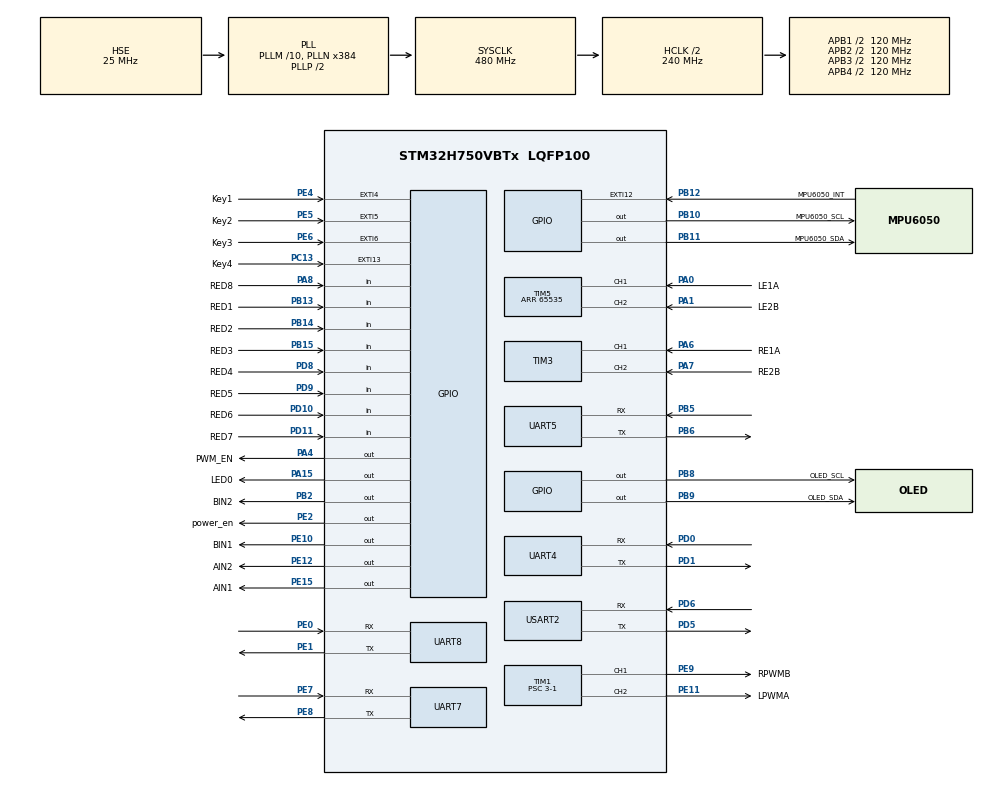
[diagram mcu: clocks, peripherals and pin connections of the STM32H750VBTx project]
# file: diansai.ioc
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Dma.Request0=UART8_TX
Dma.Request1=UART8_RX
Dma.Request2=UART7_RX
Dma.Request3=UART7_TX
Dma.Request4=UART5_RX
Dma.Request5=UART5_TX
Dma.Request6=USART2_RX
Dma.Request7=USART2_TX
Dma.Request8=UART4_RX
Dma.Request9=UART4_TX
Dma.UART4_RX.8.Direction=DMA_PERIPH_TO_MEMORY
Dma.UART4_RX.8.EventEnable=DISABLE
Dma.UART4_RX.8.FIFOMode=DMA_FIFOMODE_DISABLE
Dma.UART4_RX.8.Instance=DMA2_Stream0
Dma.UART4_RX.8.MemDataAlignment=DMA_MDATAALIGN_BYTE
Dma.UART4_RX.8.MemInc=DMA_MINC_ENABLE
Dma.UART4_RX.8.Mode=DMA_NORMAL
Dma.UART4_RX.8.PeriphDataAlignment=DMA_PDATAALIGN_BYTE
Dma.UART4_RX.8.PeriphInc=DMA_PINC_DISABLE
Dma.UART4_RX.8.Polarity=HAL_DMAMUX_REQ_GEN_RISING
Dma.UART4_RX.8.Priority=DMA_PRIORITY_LOW
Dma.UART4_RX.8.RequestNumber=1
Dma.UART4_RX.8.SignalID=NONE
Dma.UART4_RX.8.SyncEnable=DISABLE
Dma.UART4_RX.8.SyncPolarity=HAL_DMAMUX_SYNC_NO_EVENT
Dma.UART4_RX.8.SyncRequestNumber=1
Dma.UART4_RX.8.SyncSignalID=NONE
Dma.UART4_TX.9.Direction=DMA_MEMORY_TO_PERIPH
Dma.UART4_TX.9.EventEnable=DISABLE
Dma.UART4_TX.9.FIFOMode=DMA_FIFOMODE_DISABLE
Dma.UART4_TX.9.Instance=DMA2_Stream1
Dma.UART4_TX.9.MemDataAlignment=DMA_MDATAALIGN_BYTE
Dma.UART4_TX.9.MemInc=DMA_MINC_ENABLE
Dma.UART4_TX.9.Mode=DMA_NORMAL
Dma.UART4_TX.9.PeriphDataAlignment=DMA_PDATAALIGN_BYTE
Dma.UART4_TX.9.PeriphInc=DMA_PINC_DISABLE
Dma.UART4_TX.9.Polarity=HAL_DMAMUX_REQ_GEN_RISING
Dma.UART4_TX.9.Priority=DMA_PRIORITY_LOW
Dma.UART4_TX.9.RequestNumber=1
Dma.UART4_TX.9.SignalID=NONE
Dma.UART4_TX.9.SyncEnable=DISABLE
Dma.UART4_TX.9.SyncPolarity=HAL_DMAMUX_SYNC_NO_EVENT
Dma.UART4_TX.9.SyncRequestNumber=1
Dma.UART4_TX.9.SyncSignalID=NONE
Dma.UART5_RX.4.Direction=DMA_PERIPH_TO_MEMORY
Dma.UART5_RX.4.EventEnable=DISABLE
Dma.UART5_RX.4.FIFOMode=DMA_FIFOMODE_DISABLE
Dma.UART5_RX.4.Instance=DMA1_Stream4
Dma.UART5_RX.4.MemDataAlignment=DMA_MDATAALIGN_BYTE
Dma.UART5_RX.4.MemInc=DMA_MINC_ENABLE
Dma.UART5_RX.4.Mode=DMA_CIRCULAR
Dma.UART5_RX.4.PeriphDataAlignment=DMA_PDATAALIGN_BYTE
Dma.UART5_RX.4.PeriphInc=DMA_PINC_DISABLE
Dma.UART5_RX.4.Polarity=HAL_DMAMUX_REQ_GEN_RISING
Dma.UART5_RX.4.Priority=DMA_PRIORITY_LOW
Dma.UART5_RX.4.RequestNumber=1
Dma.UART5_RX.4.SignalID=NONE
Dma.UART5_RX.4.SyncEnable=DISABLE
Dma.UART5_RX.4.SyncPolarity=HAL_DMAMUX_SYNC_NO_EVENT
Dma.UART5_RX.4.SyncRequestNumber=1
Dma.UART5_RX.4.SyncSignalID=NONE
Dma.UART5_TX.5.Direction=DMA_MEMORY_TO_PERIPH
Dma.UART5_TX.5.EventEnable=DISABLE
Dma.UART5_TX.5.FIFOMode=DMA_FIFOMODE_DISABLE
Dma.UART5_TX.5.Instance=DMA1_Stream5
Dma.UART5_TX.5.MemDataAlignment=DMA_MDATAALIGN_BYTE
Dma.UART5_TX.5.MemInc=DMA_MINC_ENABLE
Dma.UART5_TX.5.Mode=DMA_NORMAL
Dma.UART5_TX.5.PeriphDataAlignment=DMA_PDATAALIGN_BYTE
Dma.UART5_TX.5.PeriphInc=DMA_PINC_DISABLE
Dma.UART5_TX.5.Polarity=HAL_DMAMUX_REQ_GEN_RISING
Dma.UART5_TX.5.Priority=DMA_PRIORITY_LOW
Dma.UART5_TX.5.RequestNumber=1
Dma.UART5_TX.5.SignalID=NONE
Dma.UART5_TX.5.SyncEnable=DISABLE
Dma.UART5_TX.5.SyncPolarity=HAL_DMAMUX_SYNC_NO_EVENT
Dma.UART5_TX.5.SyncRequestNumber=1
Dma.UART5_TX.5.SyncSignalID=NONE
Dma.UART7_RX.2.Direction=DMA_PERIPH_TO_MEMORY
Dma.UART7_RX.2.EventEnable=DISABLE
Dma.UART7_RX.2.FIFOMode=DMA_FIFOMODE_DISABLE
Dma.UART7_RX.2.Instance=DMA1_Stream2
Dma.UART7_RX.2.MemDataAlignment=DMA_MDATAALIGN_BYTE
Dma.UART7_RX.2.MemInc=DMA_MINC_ENABLE
Dma.UART7_RX.2.Mode=DMA_NORMAL
Dma.UART7_RX.2.PeriphDataAlignment=DMA_PDATAALIGN_BYTE
Dma.UART7_RX.2.PeriphInc=DMA_PINC_DISABLE
Dma.UART7_RX.2.Polarity=HAL_DMAMUX_REQ_GEN_RISING
Dma.UART7_RX.2.Priority=DMA_PRIORITY_LOW
Dma.UART7_RX.2.RequestNumber=1
Dma.UART7_RX.2.SignalID=NONE
Dma.UART7_RX.2.SyncEnable=DISABLE
Dma.UART7_RX.2.SyncPolarity=HAL_DMAMUX_SYNC_NO_EVENT
Dma.UART7_RX.2.SyncRequestNumber=1
Dma.UART7_RX.2.SyncSignalID=NONE
Dma.UART7_TX.3.Direction=DMA_MEMORY_TO_PERIPH
Dma.UART7_TX.3.EventEnable=DISABLE
Dma.UART7_TX.3.FIFOMode=DMA_FIFOMODE_DISABLE
Dma.UART7_TX.3.Instance=DMA1_Stream3
Dma.UART7_TX.3.MemDataAlignment=DMA_MDATAALIGN_BYTE
Dma.UART7_TX.3.MemInc=DMA_MINC_ENABLE
Dma.UART7_TX.3.Mode=DMA_NORMAL
Dma.UART7_TX.3.PeriphDataAlignment=DMA_PDATAALIGN_BYTE
Dma.UART7_TX.3.PeriphInc=DMA_PINC_DISABLE
Dma.UART7_TX.3.Polarity=HAL_DMAMUX_REQ_GEN_RISING
Dma.UART7_TX.3.Priority=DMA_PRIORITY_LOW
Dma.UART7_TX.3.RequestNumber=1
Dma.UART7_TX.3.SignalID=NONE
Dma.UART7_TX.3.SyncEnable=DISABLE
Dma.UART7_TX.3.SyncPolarity=HAL_DMAMUX_SYNC_NO_EVENT
Dma.UART7_TX.3.SyncRequestNumber=1
Dma.UART7_TX.3.SyncSignalID=NONE
Dma.UART8_RX.1.Direction=DMA_PERIPH_TO_MEMORY
Dma.UART8_RX.1.EventEnable=DISABLE
Dma.UART8_RX.1.FIFOMode=DMA_FIFOMODE_DISABLE
Dma.UART8_RX.1.Instance=DMA1_Stream1
Dma.UART8_RX.1.MemDataAlignment=DMA_MDATAALIGN_BYTE
Dma.UART8_RX.1.MemInc=DMA_MINC_ENABLE
Dma.UART8_RX.1.Mode=DMA_NORMAL
Dma.UART8_RX.1.PeriphDataAlignment=DMA_PDATAALIGN_BYTE
Dma.UART8_RX.1.PeriphInc=DMA_PINC_DISABLE
Dma.UART8_RX.1.Polarity=HAL_DMAMUX_REQ_GEN_RISING
Dma.UART8_RX.1.Priority=DMA_PRIORITY_LOW
Dma.UART8_RX.1.RequestNumber=1
Dma.UART8_RX.1.SignalID=NONE
Dma.UART8_RX.1.SyncEnable=DISABLE
Dma.UART8_RX.1.SyncPolarity=HAL_DMAMUX_SYNC_NO_EVENT
Dma.UART8_RX.1.SyncRequestNumber=1
Dma.UART8_RX.1.SyncSignalID=NONE
Dma.UART8_TX.0.Direction=DMA_MEMORY_TO_PERIPH
Dma.UART8_TX.0.EventEnable=DISABLE
Dma.UART8_TX.0.FIFOMode=DMA_FIFOMODE_DISABLE
Dma.UART8_TX.0.Instance=DMA1_Stream0
Dma.UART8_TX.0.MemDataAlignment=DMA_MDATAALIGN_BYTE
Dma.UART8_TX.0.MemInc=DMA_MINC_ENABLE
Dma.UART8_TX.0.Mode=DMA_NORMAL
Dma.UART8_TX.0.PeriphDataAlignment=DMA_PDATAALIGN_BYTE
Dma.UART8_TX.0.PeriphInc=DMA_PINC_DISABLE
Dma.UART8_TX.0.Polarity=HAL_DMAMUX_REQ_GEN_RISING
Dma.UART8_TX.0.Priority=DMA_PRIORITY_LOW
Dma.UART8_TX.0.RequestNumber=1
Dma.UART8_TX.0.SignalID=NONE
Dma.UART8_TX.0.SyncEnable=DISABLE
Dma.UART8_TX.0.SyncPolarity=HAL_DMAMUX_SYNC_NO_EVENT
Dma.UART8_TX.0.SyncRequestNumber=1
Dma.UART8_TX.0.SyncSignalID=NONE
Dma.USART2_RX.6.Direction=DMA_PERIPH_TO_MEMORY
Dma.USART2_RX.6.EventEnable=DISABLE
Dma.USART2_RX.6.FIFOMode=DMA_FIFOMODE_DISABLE
Dma.USART2_RX.6.Instance=DMA1_Stream6
Dma.USART2_RX.6.MemDataAlignment=DMA_MDATAALIGN_BYTE
Dma.USART2_RX.6.MemInc=DMA_MINC_ENABLE
Dma.USART2_RX.6.Mode=DMA_NORMAL
Dma.USART2_RX.6.PeriphDataAlignment=DMA_PDATAALIGN_BYTE
Dma.USART2_RX.6.PeriphInc=DMA_PINC_DISABLE
Dma.USART2_RX.6.Polarity=HAL_DMAMUX_REQ_GEN_RISING
Dma.USART2_RX.6.Priority=DMA_PRIORITY_LOW
Dma.USART2_RX.6.RequestNumber=1
Dma.USART2_RX.6.SignalID=NONE
Dma.USART2_RX.6.SyncEnable=DISABLE
Dma.USART2_RX.6.SyncPolarity=HAL_DMAMUX_SYNC_NO_EVENT
Dma.USART2_RX.6.SyncRequestNumber=1
Dma.USART2_RX.6.SyncSignalID=NONE
Dma.USART2_TX.7.Direction=DMA_MEMORY_TO_PERIPH
Dma.USART2_TX.7.EventEnable=DISABLE
Dma.USART2_TX.7.FIFOMode=DMA_FIFOMODE_DISABLE
Dma.USART2_TX.7.Instance=DMA1_Stream7
Dma.USART2_TX.7.MemDataAlignment=DMA_MDATAALIGN_BYTE
Dma.USART2_TX.7.MemInc=DMA_MINC_ENABLE
Dma.USART2_TX.7.Mode=DMA_NORMAL
Dma.USART2_TX.7.PeriphDataAlignment=DMA_PDATAALIGN_BYTE
Dma.USART2_TX.7.PeriphInc=DMA_PINC_DISABLE
Dma.USART2_TX.7.Polarity=HAL_DMAMUX_REQ_GEN_RISING
Dma.USART2_TX.7.Priority=DMA_PRIORITY_LOW
Dma.USART2_TX.7.RequestNumber=1
Dma.USART2_TX.7.SignalID=NONE
Dma.USART2_TX.7.SyncEnable=DISABLE
Dma.USART2_TX.7.SyncPolarity=HAL_DMAMUX_SYNC_NO_EVENT
Dma.USART2_TX.7.SyncRequestNumber=1
Dma.USART2_TX.7.SyncSignalID=NONE
Mcu.Family=STM32H7
Mcu.Name=STM32H750VBTx
Mcu.Package=LQFP100
NVIC.DMA1_Stream0_IRQn=true\:0\:0\:false\:false\:true\:false\:true
NVIC.DMA1_Stream1_IRQn=true\:0\:0\:false\:false\:true\:false\:true
NVIC.DMA1_Stream2_IRQn=true\:0\:0\:false\:false\:true\:false\:true
NVIC.DMA1_Stream3_IRQn=true\:0\:0\:false\:false\:true\:false\:true
NVIC.DMA1_Stream4_IRQn=true\:0\:0\:false\:false\:true\:false\:true
NVIC.DMA1_Stream5_IRQn=true\:0\:0\:false\:false\:true\:false\:true
NVIC.DMA1_Stream6_IRQn=true\:0\:0\:false\:false\:true\:false\:true
NVIC.DMA1_Stream7_IRQn=true\:0\:0\:false\:false\:true\:false\:true
NVIC.DMA2_Stream0_IRQn=true\:0\:0\:false\:false\:true\:false\:true
NVIC.DMA2_Stream1_IRQn=true\:0\:0\:false\:false\:true\:false\:true
NVIC.EXTI15_10_IRQn=true\:0\:0\:false\:false\:true\:true\:true
NVIC.EXTI4_IRQn=true\:0\:0\:false\:false\:true\:true\:true
NVIC.EXTI9_5_IRQn=true\:0\:0\:false\:false\:true\:true\:true
NVIC.PriorityGroup=NVIC_PRIORITYGROUP_4
NVIC.TIM6_DAC_IRQn=true\:0\:0\:false\:false\:true\:true\:true
NVIC.TIM7_IRQn=true\:0\:0\:false\:false\:true\:true\:true
NVIC.UART4_IRQn=true\:0\:0\:false\:false\:true\:true\:true
NVIC.UART5_IRQn=true\:0\:0\:false\:false\:true\:true\:true
NVIC.UART7_IRQn=true\:0\:0\:false\:false\:true\:true\:true
NVIC.UART8_IRQn=true\:0\:0\:false\:false\:true\:true\:true
NVIC.USART2_IRQn=true\:0\:0\:false\:false\:true\:true\:true
PA0.GPIO_Label=LE1A
PA0.Signal=S_TIM5_CH1
PA1.GPIO_Label=LE2B
PA1.Signal=S_TIM5_CH2
PA13\ (JTMS/SWDIO).Mode=Serial_Wire
PA13\ (JTMS/SWDIO).Signal=DEBUG_JTMS-SWDIO
PA14\ (JTCK/SWCLK).Mode=Serial_Wire
PA14\ (JTCK/SWCLK).Signal=DEBUG_JTCK-SWCLK
PA15\ (JTDI).GPIO_Label=LED0
PA15\ (JTDI).Signal=GPIO_Output
PA4.GPIO_Label=PWM_EN
PA4.Signal=GPIO_Output
PA6.GPIO_Label=RE1A
PA6.Signal=S_TIM3_CH1
PA7.GPIO_Label=RE2B
PA7.Signal=S_TIM3_CH2
PA8.GPIO_Label=RED8
PA8.Signal=GPIO_Input
PB10.GPIO_Label=MPU6050_SCL
PB10.GPIO_ModeDefaultOutputPP=GPIO_MODE_OUTPUT_OD
PB10.GPIO_PuPd=GPIO_NOPULL
PB10.GPIO_Speed=GPIO_SPEED_FREQ_HIGH
PB10.PinState=GPIO_PIN_SET
PB10.Signal=GPIO_Output
PB11.GPIO_Label=MPU6050_SDA
PB11.GPIO_ModeDefaultOutputPP=GPIO_MODE_OUTPUT_OD
PB11.GPIO_PuPd=GPIO_NOPULL
PB11.GPIO_Speed=GPIO_SPEED_FREQ_HIGH
PB11.PinState=GPIO_PIN_SET
PB11.Signal=GPIO_Output
PB12.GPIO_Label=MPU6050_INT
PB12.GPIO_ModeDefaultEXTI=GPIO_MODE_IT_FALLING
PB12.Signal=GPXTI12
PB13.GPIO_Label=RED1
PB13.Signal=GPIO_Input
PB14.GPIO_Label=RED2
PB14.Signal=GPIO_Input
PB15.GPIO_Label=RED3
PB15.Signal=GPIO_Input
PB2.GPIO_Label=BIN2
PB2.Signal=GPIO_Output
PB5.Mode=Asynchronous
PB5.Signal=UART5_RX
PB6.Mode=Asynchronous
PB6.Signal=UART5_TX
PB8.GPIO_Label=OLED_SCL
PB8.GPIO_ModeDefaultOutputPP=GPIO_MODE_OUTPUT_OD
PB8.GPIO_Speed=GPIO_SPEED_FREQ_HIGH
PB8.PinState=GPIO_PIN_SET
PB8.Signal=GPIO_Output
PB9.GPIO_Label=OLED_SDA
PB9.GPIO_ModeDefaultOutputPP=GPIO_MODE_OUTPUT_OD
PB9.GPIO_Speed=GPIO_SPEED_FREQ_HIGH
PB9.PinState=GPIO_PIN_SET
PB9.Signal=GPIO_Output
PC13.GPIO_Label=Key4
PC13.GPIO_ModeDefaultEXTI=GPIO_MODE_IT_FALLING
PC13.Signal=GPXTI13
PD0.Mode=Asynchronous
PD0.Signal=UART4_RX
PD1.Mode=Asynchronous
PD1.Signal=UART4_TX
PD10.GPIO_Label=RED6
PD10.Signal=GPIO_Input
PD11.GPIO_Label=RED7
PD11.Signal=GPIO_Input
PD5.Mode=Asynchronous
PD5.Signal=USART2_TX
PD6.Mode=Asynchronous
PD6.Signal=USART2_RX
PD8.GPIO_Label=RED4
PD8.Signal=GPIO_Input
PD9.GPIO_Label=RED5
PD9.Signal=GPIO_Input
PE0.Mode=Asynchronous
PE0.Signal=UART8_RX
PE1.Mode=Asynchronous
PE1.Signal=UART8_TX
PE10.GPIO_Label=BIN1
PE10.Signal=GPIO_Output
PE11.GPIO_Label=LPWMA
PE11.Signal=S_TIM1_CH2
PE12.GPIO_Label=AIN2
PE12.Signal=GPIO_Output
PE15.GPIO_Label=AIN1
PE15.Signal=GPIO_Output
PE2.GPIO_Label=power_en
PE2.Signal=GPIO_Output
PE4.GPIO_Label=Key1
PE4.GPIO_ModeDefaultEXTI=GPIO_MODE_IT_FALLING
PE4.Signal=GPXTI4
PE5.GPIO_Label=Key2
PE5.GPIO_ModeDefaultEXTI=GPIO_MODE_IT_FALLING
PE5.Signal=GPXTI5
PE6.GPIO_Label=Key3
PE6.GPIO_ModeDefaultEXTI=GPIO_MODE_IT_FALLING
PE6.Signal=GPXTI6
PE7.Mode=Asynchronous
PE7.Signal=UART7_RX
PE8.Mode=Asynchronous
PE8.Signal=UART7_TX
PE9.GPIO_Label=RPWMB
PE9.Signal=S_TIM1_CH1
PH0-OSC_IN\ (PH0).Mode=HSE-External-Oscillator
PH0-OSC_IN\ (PH0).Signal=RCC_OSC_IN
PH1-OSC_OUT\ (PH1).Mode=HSE-External-Oscillator
PH1-OSC_OUT\ (PH1).Signal=RCC_OSC_OUT
ProjectManager.HeapSize=0x200
ProjectManager.StackSize=0x400
ProjectManager.TargetToolchain=MDK-ARM V5.32
RCC.ADCFreq_Value=50390625
RCC.APB1Freq_Value=120000000
RCC.APB2Freq_Value=120000000
RCC.APB3Freq_Value=120000000
RCC.APB4Freq_Value=120000000
RCC.CortexFreq_Value=480000000
RCC.D1PPRE=RCC_APB3_DIV2
RCC.D2PPRE1=RCC_APB1_DIV2
RCC.D2PPRE2=RCC_APB2_DIV2
RCC.D3PPRE=RCC_APB4_DIV2
RCC.DIVM1=10
RCC.DIVN1=384
RCC.HCLKFreq_Value=240000000
RCC.HPRE=RCC_HCLK_DIV2
RCC.PLLSourceVirtual=RCC_PLLSOURCE_HSE
RCC.SYSCLKFreq_VALUE=480000000
RCC.SYSCLKSource=RCC_SYSCLKSOURCE_PLLCLK
RCC.USBFreq_Value=480000000
SH.S_TIM1_CH1.0=TIM1_CH1,PWM Generation1 CH1
SH.S_TIM1_CH2.0=TIM1_CH2,PWM Generation2 CH2
SH.S_TIM3_CH1.0=TIM3_CH1,Encoder_Interface
SH.S_TIM3_CH2.0=TIM3_CH2,Encoder_Interface
SH.S_TIM5_CH1.0=TIM5_CH1,Encoder_Interface
SH.S_TIM5_CH2.0=TIM5_CH2,Encoder_Interface
TIM1.Channel-PWM\ Generation1\ CH1=TIM_CHANNEL_1
TIM1.Channel-PWM\ Generation2\ CH2=TIM_CHANNEL_2
TIM1.Period=6400-1
TIM1.Prescaler=3-1
TIM3.EncoderMode=TIM_ENCODERMODE_TI12
TIM3.IC1Filter=15
TIM3.IC2Filter=15
TIM3.IC2Polarity=TIM_ICPOLARITY_RISING
TIM5.EncoderMode=TIM_ENCODERMODE_TI12
TIM5.IC1Filter=15
TIM5.IC2Filter=15
TIM5.IC2Polarity=TIM_ICPOLARITY_RISING
TIM5.Period=65535
TIM6.AutoReloadPreload=TIM_AUTORELOAD_PRELOAD_ENABLE
TIM6.Period=1000-1
TIM6.Prescaler=120-1
TIM7.Period=10000-1
TIM7.Prescaler=240-1
USART2.VirtualMode-Asynchronous=VM_ASYNC
VP_TIM1_VS_ClockSourceINT.Mode=Internal
VP_TIM6_VS_ClockSourceINT.Mode=Enable_Timer
VP_TIM7_VS_ClockSourceINT.Mode=Enable_Timer
board=custom

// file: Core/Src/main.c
/* USER CODE BEGIN Header */
/**
  ******************************************************************************
  * @file           : main.c
  * @brief          : Main program body
  ******************************************************************************
  * @attention
  *
  * <h2><center>&copy; Copyright (c) 2026 STMicroelectronics.
  * All rights reserved.</center></h2>
  *
  * This software component is licensed by ST under BSD 3-Clause license,
  * the "License"; You may not use this file except in compliance with the
  * License. You may obtain a copy of the License at:
  *                        opensource.org/licenses/BSD-3-Clause
  *
  ******************************************************************************
  */
/* USER CODE END Header */
#include "main.h"
#include "dma.h"
#include "tim.h"
#include "usart.h"
#include "gpio.h"

/* USER CODE BEGIN Includes */
#include "BSP_H.h"
#include "Module_H.h"
#include "pid.h"
#include "line_tracking.h"
#include "ball_control.h"
#include "Oled_show.h"
#include "forward.h"
#include "five.h"
/* USER CODE END Includes */

/* USER CODE BEGIN PM */
float R_rpm=0;
float L_rpm=0;
float Wish_angle = 0;
/* USER CODE END PM */

void SystemClock_Config(void);

int main(void)
{

  /* MCU Configuration--------------------------------------------------------*/

  /* Reset of all peripherals, Initializes the Flash interface and the Systick. */
  HAL_Init();

  /* Configure the system clock */
  SystemClock_Config();

  /* Initialize all configured peripherals */
  MX_GPIO_Init();
  MX_DMA_Init();
  MX_TIM1_Init();
  MX_TIM3_Init();
  MX_TIM5_Init();
  MX_TIM6_Init();
  MX_UART8_Init();
  MX_UART7_Init();
  MX_UART5_Init();
  MX_TIM7_Init();
  MX_USART2_UART_Init();
  MX_UART4_Init();
  /* USER CODE BEGIN 2 */
	bsp_timer_init();
	bsp_usart_init();
	bsp_set_gpio_high(power_en_GPIO_Port,power_en_Pin);
	bsp_set_gpio_high(PWM_EN_GPIO_Port,PWM_EN_Pin);
	HAL_NVIC_EnableIRQ(EXTI4_IRQn);
	HAL_NVIC_EnableIRQ(EXTI9_5_IRQn);
	HAL_NVIC_EnableIRQ(EXTI15_10_IRQn);

  /* USER CODE END 2 */

  /* Infinite loop */
  /* USER CODE BEGIN WHILE */
  cnt_flag_t*p_time_flag=get_g_time_flag_addr();
  PidController_t*pid_forward=pid_get_speed_controller();
  pid_init(pid_forward,85,1.1,0,1500);// pid_init(pid_forward,35,0.95,0.5,4500);5mspid����
	ball_control_init();
	uint8_t*u8_array=get_s_rx_buf_u8();
	OLED_Init();
	OLED_Clear();
	oled_show();

	HAL_Delay(800);
	back_to_zero();
	HAL_Delay(3000);

  while (1)
  {
    /* USER CODE END WHILE */

    /* USER CODE BEGIN 3 */
		if(p_time_flag->t_0_5_ms_flag){
			p_time_flag->t_0_5_ms_flag=0;

		}
	 if(p_time_flag->t_5_ms_flag)
	 {
			p_time_flag->t_5_ms_flag=0;
		  if(*task_num_addr()==2)		//����2
			{
				static uint8_t count=0;
				if(count==0)
				{
				  HAL_Delay(1000);
					count=1;
				}
				tracking_line();
			}
			else if(*task_num_addr()==4)
			{
				static uint8_t count2=0;
				if(count2==0)
				{
				  HAL_Delay(1000);
					count2=1;
				}
			  A_to_B_tracking_line();
			}
//			else if(*task_num_addr()==5)
//			{
//			  static uint8_t count3=0;
//				if(count3==0)
//				{
//				  HAL_Delay(1000);
//					count3=1;
//				}
//			  A_tracking_line();
//			}

			}

	 if(p_time_flag->t_16_ms_flag){
		 p_time_flag->t_16_ms_flag=0;

	 }
	 if(p_time_flag->t_30_ms_flag){
		 p_time_flag->t_30_ms_flag=0;
	      if(*task_num_addr()==3)	 //����3
		 		{
					static uint8_t count=0;
					if(count==0)
					{
						ball_first_step();
						count=1;
					}
					open_control();
				}
	 }
	 if(p_time_flag->t_500_ms_flag){
		 p_time_flag->t_500_ms_flag = 0;
		 oled_show();
//		 uint8_t*read_Line=get_g_Line_state_addr();

//		bsp_usart8_printf("%d,%d,%d,%d,%d,%d,%d,%d\n",read_Line[track_left1],read_Line[track_left2],read_Line[track_left3],read_Line[track_left4],\
//		 read_Line[track_right4],read_Line[track_right3],read_Line[track_right2],read_Line[track_right1]);

//		 bsp_usart8_printf("%f\n",get_yaw_speed());
	 }

  }
  /* USER CODE END 3 */
}

void SystemClock_Config(void)
{
  RCC_OscInitTypeDef RCC_OscInitStruct = {0};
  RCC_ClkInitTypeDef RCC_ClkInitStruct = {0};

  /** Supply configuration update enable
  */
  HAL_PWREx_ConfigSupply(PWR_LDO_SUPPLY);
  /** Configure the main internal regulator output voltage
  */
  __HAL_PWR_VOLTAGESCALING_CONFIG(PWR_REGULATOR_VOLTAGE_SCALE0);

  while(!__HAL_PWR_GET_FLAG(PWR_FLAG_VOSRDY)) {}
  /** Initializes the RCC Oscillators according to the specified parameters
  * in the RCC_OscInitTypeDef structure.
  */
  RCC_OscInitStruct.OscillatorType = RCC_OSCILLATORTYPE_HSE;
  RCC_OscInitStruct.HSEState = RCC_HSE_ON;
  RCC_OscInitStruct.PLL.PLLState = RCC_PLL_ON;
  RCC_OscInitStruct.PLL.PLLSource = RCC_PLLSOURCE_HSE;
  RCC_OscInitStruct.PLL.PLLM = 10;
  RCC_OscInitStruct.PLL.PLLN = 384;
  RCC_OscInitStruct.PLL.PLLP = 2;
  RCC_OscInitStruct.PLL.PLLQ = 2;
  RCC_OscInitStruct.PLL.PLLR = 2;
  RCC_OscInitStruct.PLL.PLLRGE = RCC_PLL1VCIRANGE_1;
  RCC_OscInitStruct.PLL.PLLVCOSEL = RCC_PLL1VCOWIDE;
  RCC_OscInitStruct.PLL.PLLFRACN = 0;
  if (HAL_RCC_OscConfig(&RCC_OscInitStruct) != HAL_OK)
  {
    Error_Handler();
  }
  /** Initializes the CPU, AHB and APB buses clocks
  */
  RCC_ClkInitStruct.ClockType = RCC_CLOCKTYPE_HCLK|RCC_CLOCKTYPE_SYSCLK
                              |RCC_CLOCKTYPE_PCLK1|RCC_CLOCKTYPE_PCLK2
                              |RCC_CLOCKTYPE_D3PCLK1|RCC_CLOCKTYPE_D1PCLK1;
  RCC_ClkInitStruct.SYSCLKSource = RCC_SYSCLKSOURCE_PLLCLK;
  RCC_ClkInitStruct.SYSCLKDivider = RCC_SYSCLK_DIV1;
  RCC_ClkInitStruct.AHBCLKDivider = RCC_HCLK_DIV2;
  RCC_ClkInitStruct.APB3CLKDivider = RCC_APB3_DIV2;
  RCC_ClkInitStruct.APB1CLKDivider = RCC_APB1_DIV2;
  RCC_ClkInitStruct.APB2CLKDivider = RCC_APB2_DIV2;
  RCC_ClkInitStruct.APB4CLKDivider = RCC_APB4_DIV2;

  if (HAL_RCC_ClockConfig(&RCC_ClkInitStruct, FLASH_LATENCY_4) != HAL_OK)
  {
    Error_Handler();
  }
}

void Error_Handler(void)
{
  __disable_irq();
  while (1)
  {
  }
}

/************************ (C) COPYRIGHT STMicroelectronics *****END OF FILE****/
